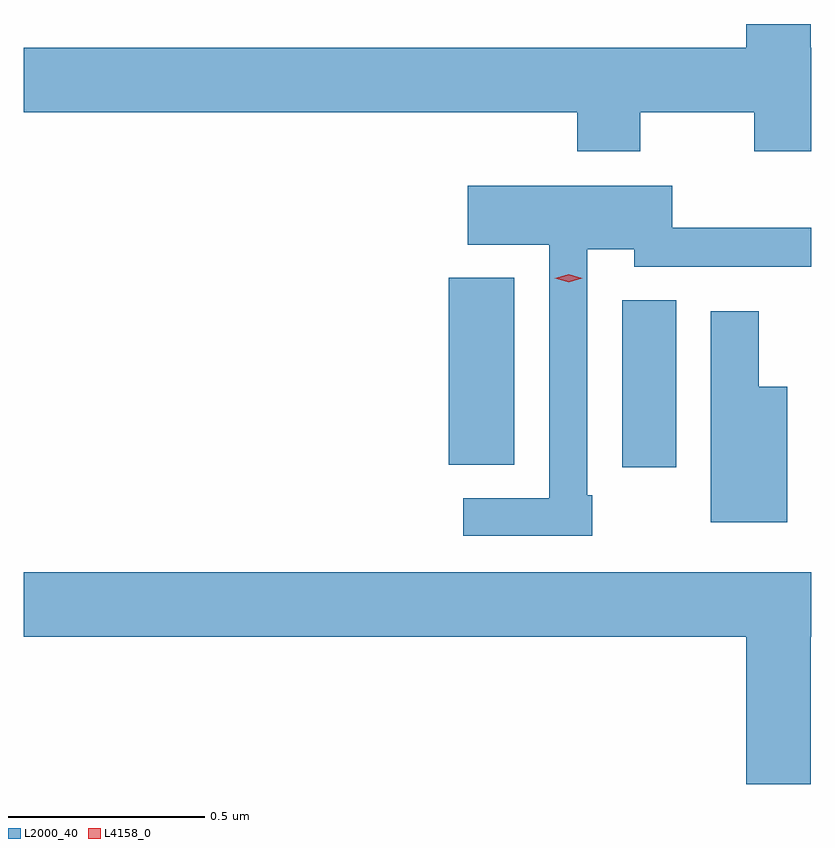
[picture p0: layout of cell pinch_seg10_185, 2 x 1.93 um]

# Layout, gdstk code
import gdstk
lib = gdstk.Library(unit=1e-6, precision=1e-09)
def R(c, l, rs):  # rectangles x0, y0, x1, y1
    for r in rs: c.add(gdstk.rectangle(r[:2], r[2:], *l))
def P(c, l, *ps):  # polygons
    for p in ps: c.add(gdstk.Polygon(p, *l))
L2000_40 = (2000, 40)
L4158_0 = (4158, 0)

pinch_seg10_185 = lib.new_cell('pinch_seg10_185')
R(pinch_seg10_185, L2000_40, [(728.129,1255.458,728.266,1255.883), (727.688,1255.465,727.855,1255.939)])
P(pinch_seg10_185, L2000_40, [(728.175,1256.36),(728.464,1256.36),(728.464,1256.261),(728.609,1256.261),(728.609,1256.524),(728.608,1256.524),(728.608,1256.584),(728.444,1256.584),(728.444,1256.524),(726.609,1256.524),(726.609,1256.36),(728.015,1256.36),(728.015,1256.261),(728.175,1256.261)],
  [(728.053,1255.387),(728.04,1255.387),(728.04,1256.012),(728.16,1256.012),(728.16,1255.968),(728.572,1255.968),(728.572,1255.967),(728.609,1255.967),(728.609,1256.066),(728.256,1256.066),(728.256,1256.173),(727.737,1256.173),(727.737,1256.024),(727.944,1256.024),(727.944,1255.38),(727.725,1255.38),(727.725,1255.284),(728.053,1255.284)],
  [(728.548,1255.663),(728.476,1255.663),(728.476,1255.855),(728.354,1255.855),(728.354,1255.319),(728.548,1255.319)],
  [(726.609,1255.028),(728.444,1255.028),(728.444,1254.654),(728.608,1254.654),(728.608,1255.028),(728.609,1255.028),(728.609,1255.192),(726.609,1255.192)])
P(pinch_seg10_185, L4158_0, [(727.993,1255.928),(727.958,1255.938),(727.958,1255.938),(727.958,1255.938),(727.993,1255.948),(728.028,1255.938),(728.028,1255.938),(728.028,1255.938)])

lib.write_gds('pinch_seg10_185.gds')
